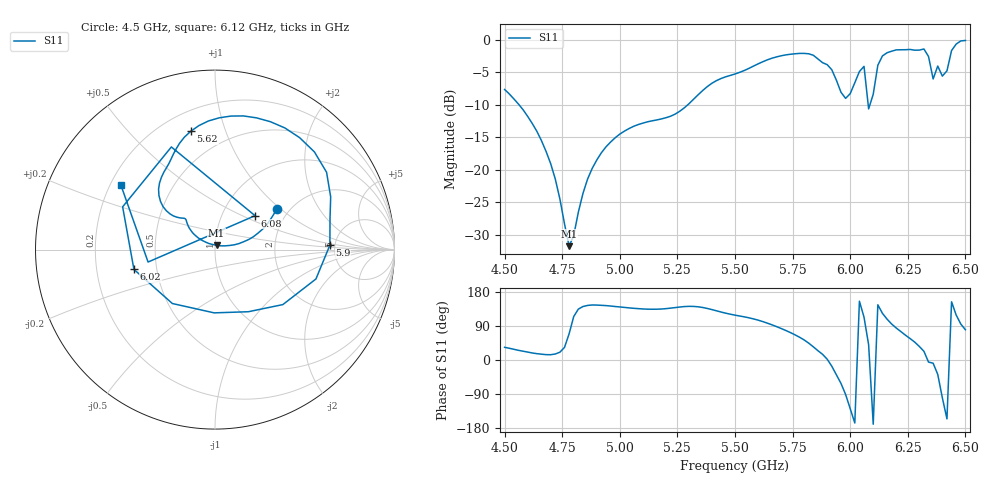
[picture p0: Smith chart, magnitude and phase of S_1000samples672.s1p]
! TOUCHSTONE file generated by CST MICROWAVE STUDIO
! Date and time: Fri Oct 28 23:45:46 2022
! Project name: L.cst
! Parameters = {Di=1.27; Epsilon_r=1.56; InnerDiameter=1.27; Length=2; Lf=10; Lg=60; OuterConductorThickness=0.2921; OuterDiameter=3.6; Wf=3; Wp=41.2; de=1.5; df=6.8; g=0.8; gx=1.86948; gy=1.09864; h=2.34; hf=1.524; px=13.663; py=13.2046; w=9.7; wx=11.7935; wy=12.1059}
! Header version: 2018
! Port assignment regex: !\s*Touchstone port\s*([0-9]+)\s*=\s*(CST MWS port|CST DS port)\s*([0-9]+|Zmin|Zmax)\s*\(\"(.*)\"\)(\s*mode\s*([0-9]+))?.*
! Touchstone port assignment:
! Touchstone port 1 = CST MWS port 1 ("")
# GHz S DB R 50
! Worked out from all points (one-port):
!   101 points, 4.5 GHz to 6.5 GHz, reference 50 ohm
!   lowest |S11| = -31.8 dB at 4.78 GHz (marker M1), VSWR 1.05, Z = 50.9 + j2.45 ohm
!   |S11| at or under -10 dB: 4.562 GHz to 5.296 GHz (734.8 MHz wide, 14.9 % of centre); 6.077923 GHz to 6.086019 GHz (8.097 MHz wide, 0.133 % of centre)
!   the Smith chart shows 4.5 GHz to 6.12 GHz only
!   S11 on the Smith chart (normalised r, x): 4.5 GHz: 1.72, +0.94; 5.62 GHz: 0.32, +0.77; 5.9 GHz: 4.53, +0.38; 6.02 GHz: 0.37, -0.10; 6.08 GHz: 1.43, +0.59; 6.12 GHz: 0.24, +0.29
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4.5  -7.69 33.5
4.66  -15.56 15.4
4.76  -28.36 33.3
4.78  -31.80 69.3
4.88  -19.85 145.2
5  -14.55 140.0
5.26  -11.04 139.8
5.5  -5.31 118.4
5.62  -3.43 101.5
5.76  -2.20 66.5
5.9  -3.87 2.2
5.94  -6.26 -39.0
6  -8.34 -128.3
6.02  -6.65 -166.3
6.04  -4.93 155.2
6.06  -4.13 113.0
6.08  -10.68 40.3
6.1  -8.42 -169.5
6.12  -3.96 145.7
6.18  -1.80 94.9
6.26  -1.53 56.6
6.32  -1.46 23.0
6.34  -2.61 -5.5
6.38  -4.08 -38.0
6.4  -5.63 -99.8
6.44  -1.70 153.6
6.46  -0.70 118.7
6.5  -0.15 79.9
